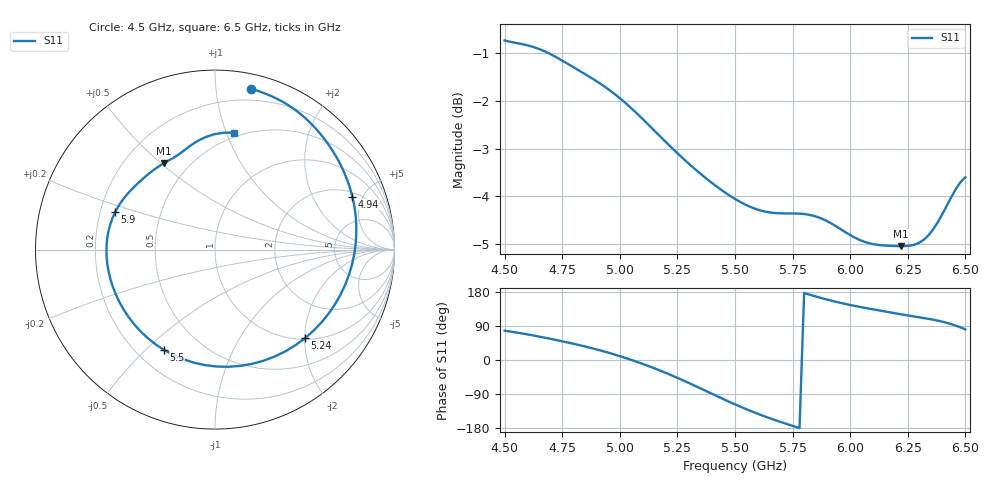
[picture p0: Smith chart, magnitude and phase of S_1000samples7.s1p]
! TOUCHSTONE file generated by CST MICROWAVE STUDIO
! Date and time: Wed Oct 26 16:21:36 2022
! Project name: L.cst
! Parameters = {Di=1.27; Epsilon_r=1.56; InnerDiameter=1.27; Length=2; Lf=10; Lg=60; OuterConductorThickness=0.2921; OuterDiameter=3.6; Wf=3; Wp=41.2; de=1.5; df=6.8; g=0.8; gx=4.57875; gy=1.08578; h=2.34; hf=1.524; px=12.4573; py=11.4115; w=9.7; wx=7.87857; wy=10.3257}
! Header version: 2018
! Port assignment regex: !\s*Touchstone port\s*([0-9]+)\s*=\s*(CST MWS port|CST DS port)\s*([0-9]+|Zmin|Zmax)\s*\(\"(.*)\"\)(\s*mode\s*([0-9]+))?.*
! Touchstone port assignment:
! Touchstone port 1 = CST MWS port 1 ("")
# GHz S DB R 50
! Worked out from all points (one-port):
!   101 points, 4.5 GHz to 6.5 GHz, reference 50 ohm
!   lowest |S11| = -5.0 dB at 6.22 GHz (marker M1), VSWR 3.54, Z = 18.2 + j25.5 ohm
!   |S11| at or under -10 dB: nowhere
!   S11 on the Smith chart (normalised r, x): 4.5 GHz: 0.11, +1.24; 4.94 GHz: 2.31, +4.15; 5.24 GHz: 1.03, -2.01; 5.5 GHz: 0.31, -0.57; 5.9 GHz: 0.26, +0.17; 6.5 GHz: 0.46, +1.07
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4.5  -0.73 77.4
4.58  -0.81 69.6
4.64  -0.89 62.9
4.76  -1.18 48.0
4.86  -1.47 34.0
4.94  -1.72 21.1
5  -1.94 10.1
5.06  -2.20 -1.8
5.12  -2.48 -14.9
5.18  -2.77 -29.1
5.24  -3.05 -44.4
5.26  -3.14 -49.8
5.32  -3.40 -66.3
5.38  -3.65 -83.4
5.44  -3.87 -100.5
5.5  -4.06 -117.0
5.56  -4.21 -132.5
5.62  -4.31 -146.8
5.68  -4.35 -159.8
5.76  -4.36 -175.8
5.82  -4.39 173.0
5.9  -4.52 159.4
6  -4.81 145.2
6.22  -5.05 120.7
6.26  -5.04 116.6
6.4  -4.37 101.1
6.46  -3.84 90.3
6.5  -3.60 80.6
